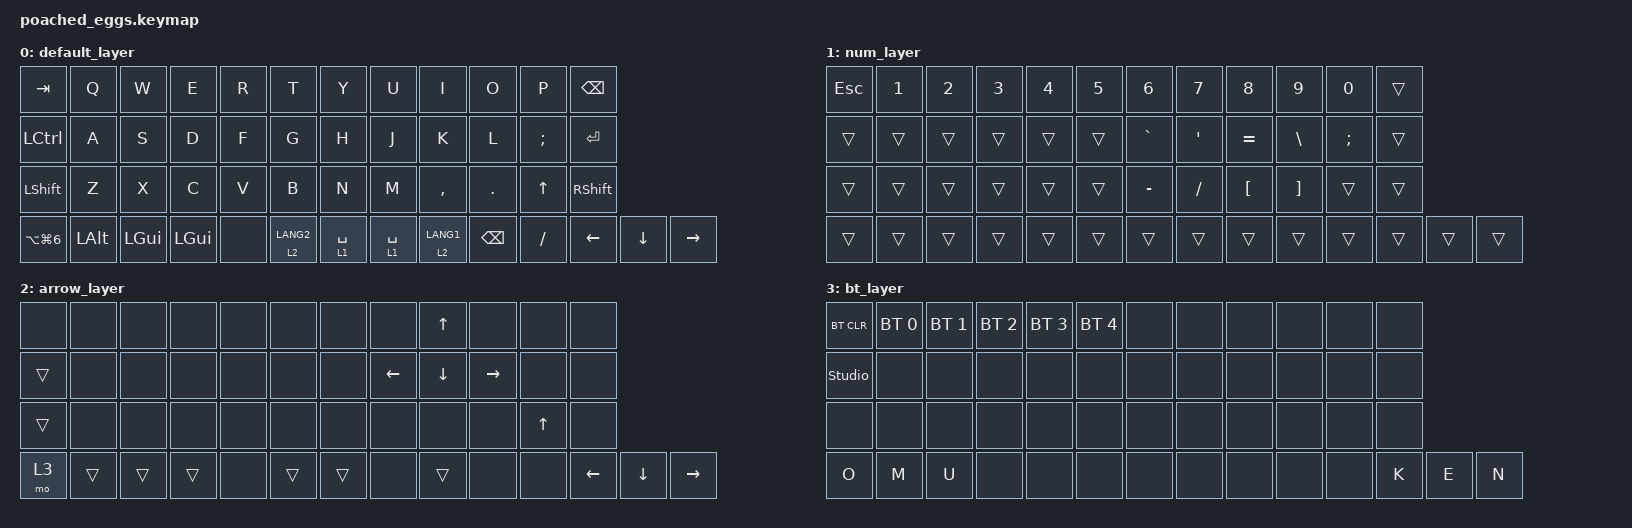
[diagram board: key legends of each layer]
#include <behaviors.dtsi>
#include <dt-bindings/zmk/bt.h>
#include <dt-bindings/zmk/keys.h>

/ {
    keymap {
        compatible = "zmk,keymap";

        // BASE: 4行5列は無効、4行10列はBackspace。
        default_layer {
            bindings = <
                &kp TAB          &kp Q            &kp W            &kp E            &kp R            &kp T                &kp Y            &kp U            &kp I            &kp O            &kp P            &kp BSPC
                &kp LCTRL        &kp A            &kp S            &kp D            &kp F            &kp G                &kp H            &kp J            &kp K            &kp L            &kp SEMI         &kp RET
                &kp LSHFT        &kp Z            &kp X            &kp C            &kp V            &kp B                &kp N            &kp M            &kp COMMA        &kp DOT          &kp UP           &kp RSHFT
                &kp LA(LG(N6))   &kp LALT         &kp LGUI         &kp LGUI         &none            &lt 2 LANG2      &lt 1 SPACE          &lt 1 SPACE      &lt 2 LANG1      &kp BSPC         &kp FSLH         &kp LEFT         &kp DOWN         &kp RIGHT
            >;
        };

        // NUM: meteorite40の数字・記号配置。左上はEsc。その他はBASEを使用。
        num_layer {
            bindings = <
                &kp ESC          &kp N1           &kp N2           &kp N3           &kp N4           &kp N5               &kp N6           &kp N7           &kp N8           &kp N9           &kp N0           &trans
                &trans           &trans           &trans           &trans           &trans           &trans               &kp GRAVE        &kp SQT          &kp EQUAL        &kp BSLH         &kp SEMI         &trans
                &trans           &trans           &trans           &trans           &trans           &trans               &kp MINUS        &kp FSLH         &kp LBKT         &kp RBKT         &trans           &trans
                &trans           &trans           &trans           &trans           &trans           &trans           &trans               &trans           &trans           &trans           &trans           &trans           &trans           &trans
            >;
        };

        // ARROW: I/J/K/Lと既存の矢印位置で通常のカーソル移動。
        arrow_layer {
            bindings = <
                &none            &none            &none            &none            &none            &none                &none            &none            &kp UP           &none            &none            &none
                &trans           &none            &none            &none            &none            &none                &none            &kp LEFT         &kp DOWN         &kp RIGHT        &none            &none
                &trans           &none            &none            &none            &none            &none                &none            &none            &none            &none            &kp UP           &none
                &mo 3            &trans           &trans           &trans           &none            &trans           &trans               &none            &trans           &none            &none            &kp LEFT         &kp DOWN         &kp RIGHT
            >;
        };

        // Bluetooth管理: ARROWの左下を長押し。
        bt_layer {
            bindings = <
                &bt BT_CLR       &bt BT_SEL 0     &bt BT_SEL 1     &bt BT_SEL 2     &bt BT_SEL 3     &bt BT_SEL 4         &none            &none            &none            &none            &none            &none
                &studio_unlock   &none            &none            &none            &none            &none                &none            &none            &none            &none            &none            &none
                &none            &none            &none            &none            &none            &none                &none            &none            &none            &none            &none            &none
                &kp O            &kp M            &kp U            &none            &none            &none            &none                &none            &none            &none            &none            &kp K            &kp E            &kp N
            >;
        };
    };
};
